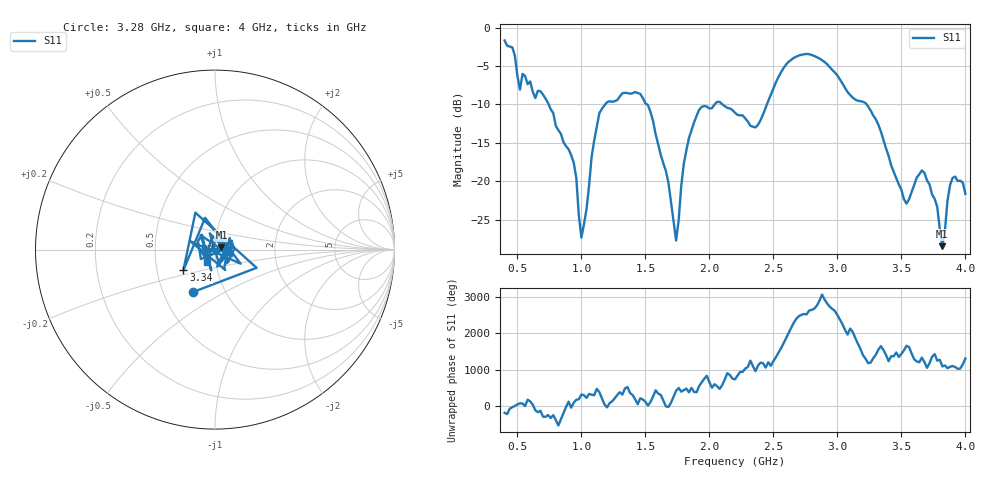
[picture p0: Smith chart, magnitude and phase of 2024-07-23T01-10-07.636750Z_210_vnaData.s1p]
!Created with skrf (http://scikit-rf.org).
# Hz S RI R 50.0
!freq ReS11 ImS11
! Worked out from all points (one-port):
!   181 points, 400 MHz to 4 GHz, reference 50 ohm
!   lowest |S11| = -28.5 dB at 3.82 GHz (marker M1), VSWR 1.08, Z = 53.7 + j1.26 ohm
!   |S11| at or under -10 dB: 744 MHz to 1.187 GHz (442.6 MHz wide, 45.9 % of centre); 1.511 GHz to 2.041 GHz (529.9 MHz wide, 29.8 % of centre); 3.228 GHz to end of sweep (the widest 3 of 4)
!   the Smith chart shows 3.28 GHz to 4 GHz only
!   S11 on the Smith chart (normalised r, x): 3.28 GHz: 0.70, -0.36; 3.34 GHz: 0.68, -0.16; 4 GHz: 0.90, -0.12
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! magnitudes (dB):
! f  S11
! 400 MHz  -1.7
! 480 MHz  -3.6
! 520 MHz  -8.1
! 680 MHz  -8.3
! 860 MHz  -14.9
! 940 MHz  -17.6
! 1 GHz  -27.4
! 1.14 GHz  -11.2
! 1.3 GHz  -9.0
! 1.52 GHz  -10.1
! 1.68 GHz  -20.2
! 1.74 GHz  -27.7
! 1.76 GHz  -25.1
! 1.8 GHz  -17.7
! 1.92 GHz  -10.7
! 2.2 GHz  -11.1
! 2.36 GHz  -13.0
! 2.66 GHz  -3.9
! 2.88 GHz  -4.2
! 3.1 GHz  -8.8
! 3.28 GHz  -11.4
! 3.34 GHz  -13.5
! 3.56 GHz  -22.3
! 3.68 GHz  -18.9
! 3.78 GHz  -23.3
! 3.82 GHz  -28.5
! 3.9 GHz  -19.6
! 4 GHz  -21.7
